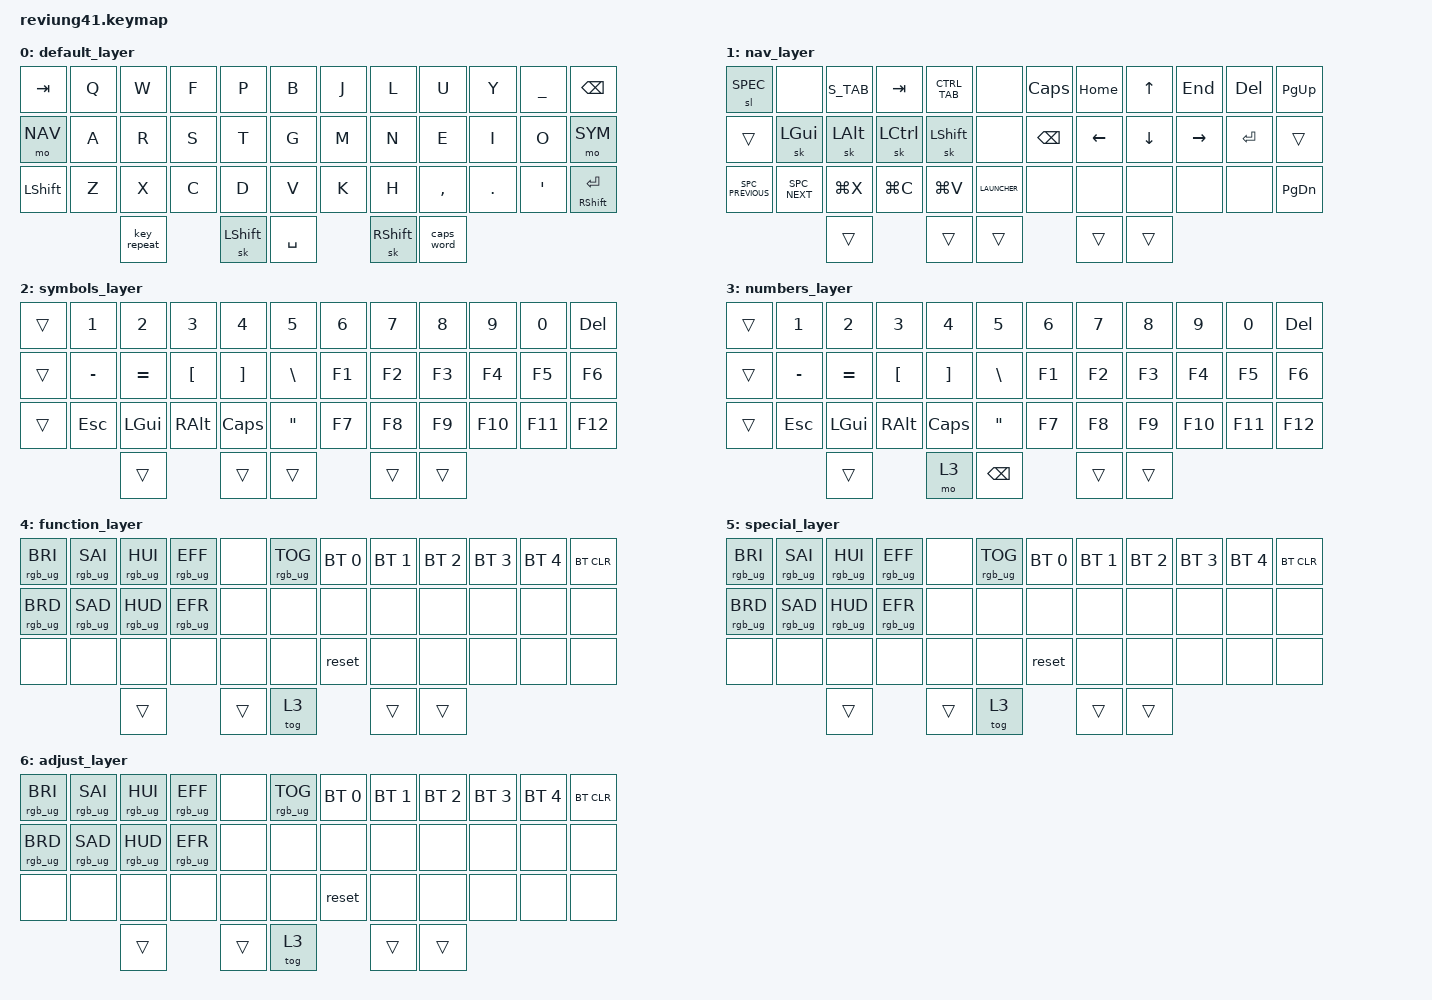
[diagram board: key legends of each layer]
/*
 * Copyright (c) 2020 The ZMK Contributors
 *
 * SPDX-License-Identifier: MIT
 */

#include <behaviors.dtsi>
#include <dt-bindings/zmk/keys.h>
#include <dt-bindings/zmk/bt.h>
#include <dt-bindings/zmk/rgb.h>

#define BASE 0
#define NAV 1
#define SYM 2
#define NUM 3
#define FUN 4
#define SPEC 5
#define ADJ 6


#define LAUNCHER (LG(TAB))
#define CTRL_TAB (LC(TAB))
#define C_S_TAB (LC(LS(TAB)))

#define SPC_PREVIOUS (LC(LG(LEFT)))
#define S_PRV SPC_PREVIOUS

#define SPC_NEXT (LC(LG(RIGHT)))
#define S_NXT SPC_NEXT

&sk {
  release-after-ms = <2000>;
  quick-release;
};

/ {

  conditional_layers {
      compatible = "zmk,conditional-layers";
      tri_layer {
          if-layers = <1 2>;
          then-layer = <3>;
      };
  };

  behaviors {
      td0: tap_dance_smart_shift {
          compatible = "zmk,behavior-tap-dance";
          label = "TAP_DANCE_SMART_SHIFT";
          #binding-cells = <0>;
          tapping-term-ms = <200>;
          bindings = <&sk LSHIFT>, <&caps_word>;
      };
  };
  keymap {
    compatible = "zmk,keymap";

    default_layer {
// -------------------------------------------------------------------------------------
// |  TAB |  Q  |  W  |  F  |  P  |  B  |    |  J  |  L   |  U  |  Y  |  _  |   BKSP   |
// |  NAV |  A  |  R  |  S  |  T  |  G  |    |  M  |  N   |  E  |  I  |  O  |   SYM    |
// | SHFT |  Z  |  X  |  C  |  D  |  V  |    |  K  |  H   |  ,  |  .  |  '  | SHFT(RET)|
//                         | RPT | SHFT| SPC | SHFT | CAPW|
                        bindings = <
   &kp TAB   &kp Q &kp W &kp F &kp P &kp B       &kp J &kp L  &kp U     &kp Y   &kp UNDER &kp BSPC
   &mo NAV  &kp A &kp R &kp S &kp T &kp G       &kp M &kp N  &kp E     &kp I   &kp O     &mo SYM
   &kp LSHFT &kp Z &kp X &kp C &kp D &kp V       &kp K &kp H  &kp COMMA &kp DOT &kp APOS &mt RSHFT RET
                  &key_repeat  &sk LSHFT  &kp SPACE  &sk RSHFT  &caps_word
      >;
    };

    nav_layer {
// ----------------------------------------------------------------------------------
// | SPEC |     | pTAB| TAB | nTAB|      |    | CAPS| HOME|  UP | END | DEL  |      |
// |      | LGUI| LALT|LCTRL|LSHFT|      |    | BKSP| LFT | DWN | RGT |ENTER | PGUP |
// | S_PRV|S_NXT| CUT | CPY | PSTE|LAUNCH|    |     |     |     | PGDN| PRSC | PGDN |
//                       |     |     |     |     |     |
                        bindings = <
   &sl SPEC   &none      &kp C_S_TAB  &kp TAB    &kp CTRL_TAB &none           &kp CAPS  &kp HOME  &kp UP     &kp END    &kp DEL    &kp PG_UP
   &trans     &sk LGUI   &sk LALT     &sk LCTRL  &sk LSHIFT   &none           &kp BSPC  &kp LEFT  &kp DOWN   &kp RIGHT  &kp ENTER  &trans
   &kp S_PRV  &kp S_NXT  &kp LG(X)    &kp LG(C)  &kp LG(V)    &kp LAUNCHER    &none     &none     &none      &none      &none      &kp PG_DN
                                          &trans      &trans       &trans        &trans       &trans
      >;
    };

    symbols_layer {
// -----------------------------------------------------------------------------------------
// |    |  1  |  2  |  3  |  4  |  5  |   |  6  |  7  |  8  |  9  |  0  | DEL |
// |    |  -  |  =  |  [  |  ]  |  \  |   | F1  | F2  | F3  | F4  | F5  | F6  |
// |    | ESC | GUI | ALT | CAPS|  "  |   | F7  | F8  | F9  | F10 | F11 | F12 |
//                       |     |     |      |    |     |
                        bindings = <
   &trans &kp N1    &kp N2    &kp N3    &kp N4    &kp N5        &kp N6    &kp N7    &kp N8    &kp N9    &kp N0    &kp DEL
   &trans &kp MINUS &kp EQUAL &kp LBKT  &kp RBKT  &kp BSLH      &kp F1    &kp F2    &kp F3    &kp F4    &kp F5    &kp F6
   &trans &kp ESC   &kp LGUI  &kp RALT  &kp CLCK  &kp DQT       &kp F7    &kp F8    &kp F9    &kp F10   &kp F11   &kp F12
                                &trans      &trans      &trans        &trans      &trans
                        >;
                };

    numbers_layer {
// -----------------------------------------------------------------------------------------
// |    |  1  |  2  |  3  |  4  |  5  |   |  6  |  7  |  8  |  9  |  0  | DEL |
// |    |  -  |  =  |  [  |  ]  |  \  |   | F1  | F2  | F3  | F4  | F5  | F6  |
// |    | ESC | GUI | ALT | CAPS|  "  |   | F7  | F8  | F9  | F10 | F11 | F12 |
//                       |     | ADJ | BKSP |    |     |
                        bindings = <
   &trans &kp N1    &kp N2    &kp N3    &kp N4    &kp N5        &kp N6    &kp N7    &kp N8    &kp N9    &kp N0    &kp DEL
   &trans &kp MINUS &kp EQUAL &kp LBKT  &kp RBKT  &kp BSLH      &kp F1    &kp F2    &kp F3    &kp F4    &kp F5    &kp F6
   &trans &kp ESC   &kp LGUI  &kp RALT  &kp CLCK  &kp DQT       &kp F7    &kp F8    &kp F9    &kp F10   &kp F11   &kp F12
                                &trans      &mo 3       &kp BSPC        &trans      &trans
      >;
    };

    function_layer {
// -----------------------------------------------------------------------------------------
// | RGB BRI+ | RGB SAT+ | RGB HUE+ | RGB ANI+ |    | RGB TOG |   |  BT1  | BT2 | BT3 | BT4 | BT5 | BT CLR |
// | RGB BRI- | RGB SAT- | RGB HUE- | RGB ANI- |    |         |   |       |     |     |     |     |        |
// |          |          |          |          |    |         |   | RESET |     |     |     |     |        |
//                                              |     |     |     |     |     |
                        bindings = <
   &rgb_ug RGB_BRI &rgb_ug RGB_SAI &rgb_ug RGB_HUI &rgb_ug RGB_EFF &none &rgb_ug RGB_TOG    &bt BT_SEL 0 &bt BT_SEL 1 &bt BT_SEL 2 &bt BT_SEL 3 &bt BT_SEL 4 &bt BT_CLR
   &rgb_ug RGB_BRD &rgb_ug RGB_SAD &rgb_ug RGB_HUD &rgb_ug RGB_EFR &none &none              &none        &none        &none        &none        &none        &none
   &none           &none           &none           &none           &none &none              &reset       &none        &none        &none        &none        &none
                                                             &trans      &trans       &tog 3        &trans      &trans
      >;
    };

    special_layer {
// -----------------------------------------------------------------------------------------
// | RGB BRI+ | RGB SAT+ | RGB HUE+ | RGB ANI+ |    | RGB TOG |   |  BT1  | BT2 | BT3 | BT4 | BT5 | BT CLR |
// | RGB BRI- | RGB SAT- | RGB HUE- | RGB ANI- |    |         |   |       |     |     |     |     |        |
// |          |          |          |          |    |         |   | RESET |     |     |     |     |        |
//                                              |     |     |     |     |     |
                        bindings = <
   &rgb_ug RGB_BRI &rgb_ug RGB_SAI &rgb_ug RGB_HUI &rgb_ug RGB_EFF &none &rgb_ug RGB_TOG    &bt BT_SEL 0 &bt BT_SEL 1 &bt BT_SEL 2 &bt BT_SEL 3 &bt BT_SEL 4 &bt BT_CLR
   &rgb_ug RGB_BRD &rgb_ug RGB_SAD &rgb_ug RGB_HUD &rgb_ug RGB_EFR &none &none              &none        &none        &none        &none        &none        &none
   &none           &none           &none           &none           &none &none              &reset       &none        &none        &none        &none        &none
                                                             &trans      &trans       &tog 3        &trans      &trans
      >;
    };    

    adjust_layer {
// -----------------------------------------------------------------------------------------
// | RGB BRI+ | RGB SAT+ | RGB HUE+ | RGB ANI+ |    | RGB TOG |   |  BT1  | BT2 | BT3 | BT4 | BT5 | BT CLR |
// | RGB BRI- | RGB SAT- | RGB HUE- | RGB ANI- |    |         |   |       |     |     |     |     |        |
// |          |          |          |          |    |         |   | RESET |     |     |     |     |        |
//                                              |     |     |     |     |     |
                        bindings = <
   &rgb_ug RGB_BRI &rgb_ug RGB_SAI &rgb_ug RGB_HUI &rgb_ug RGB_EFF &none &rgb_ug RGB_TOG    &bt BT_SEL 0 &bt BT_SEL 1 &bt BT_SEL 2 &bt BT_SEL 3 &bt BT_SEL 4 &bt BT_CLR
   &rgb_ug RGB_BRD &rgb_ug RGB_SAD &rgb_ug RGB_HUD &rgb_ug RGB_EFR &none &none              &none        &none        &none        &none        &none        &none
   &none           &none           &none           &none           &none &none              &reset       &none        &none        &none        &none        &none
                                                             &trans      &trans       &tog 3        &trans      &trans
      >;
    };
  };
};
